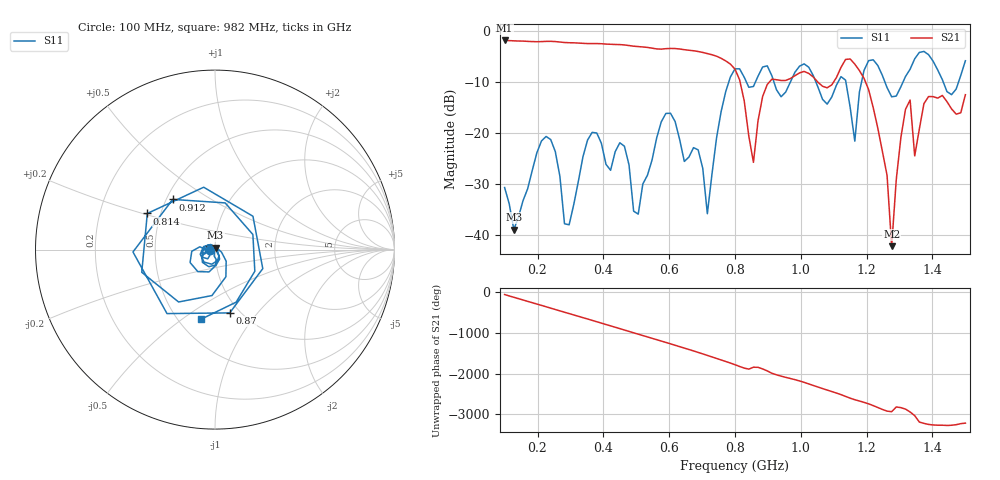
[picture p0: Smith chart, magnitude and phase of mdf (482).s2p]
! NanoVNA-App
! Date: 2025-09-25 15:42:10
! Start: 100MHz Stop: 1,5GHz Points: 101
! S-Parameter data: F S11 S21 S12 S22
# Hz S RI R 50
!  Frequency  S11_Real  S11_Imag  S21_Real  S21_Imag  S12_Real  S12_Imag  S22_Real  S22_Imag
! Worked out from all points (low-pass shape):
!   101 points, 100 MHz to 1.5 GHz, reference 50 ohm
!   highest |S21| = -1.80 dB at 100 MHz (marker M1); lowest = -42.3 dB at 1.276 GHz (marker M2)
!   |S21| within 3 dB of the highest: start of sweep to 739.1 MHz
!   lowest |S11| = -39.0 dB at 128 MHz (marker M3), VSWR 1.02, Z = 50.3 + j1.08 ohm
!   |S11| at or under -10 dB: start of sweep to 781 MHz; 918.4 MHz to 968.1 MHz (49.73 MHz wide, 5.27 % of centre); 1.046 GHz to 1.113 GHz (67.17 MHz wide, 6.22 % of centre)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
!   S12 and S22 are empty: the file has one direction only
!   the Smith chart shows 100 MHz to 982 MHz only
!   S11 on the Smith chart (normalised r, x): 100 MHz: 0.94, -0.01; 814 MHz: 0.42, +0.21; 870 MHz: 0.90, -0.73; 912 MHz: 0.54, +0.35; 982 MHz: 0.64, -0.59
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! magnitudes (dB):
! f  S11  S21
! 100 MHz  -30.7  -1.8
! 128 MHz  -39.0  -1.9
! 212 MHz  -21.6  -2.0
! 282 MHz  -37.9  -2.2
! 338 MHz  -24.7  -2.4
! 464 MHz  -22.6  -2.7
! 506 MHz  -36.0  -3.0
! 576 MHz  -17.8  -3.5
! 716 MHz  -35.9  -4.4
! 800 MHz  -7.4  -7.4
! 814 MHz  -7.4  -9.5
! 856 MHz  -10.9  -25.8
! 870 MHz  -8.8  -17.6
! 912 MHz  -8.7  -9.4
! 982 MHz  -8.1  -8.7
! 1.038 GHz  -8.7  -9.0
! 1.164 GHz  -21.6  -6.5
! 1.192 GHz  -7.7  -9.2
! 1.276 GHz  -12.9  -42.3
! 1.318 GHz  -8.9  -15.4
! 1.346 GHz  -5.4  -24.5
! 1.5 GHz  -5.8  -12.5
